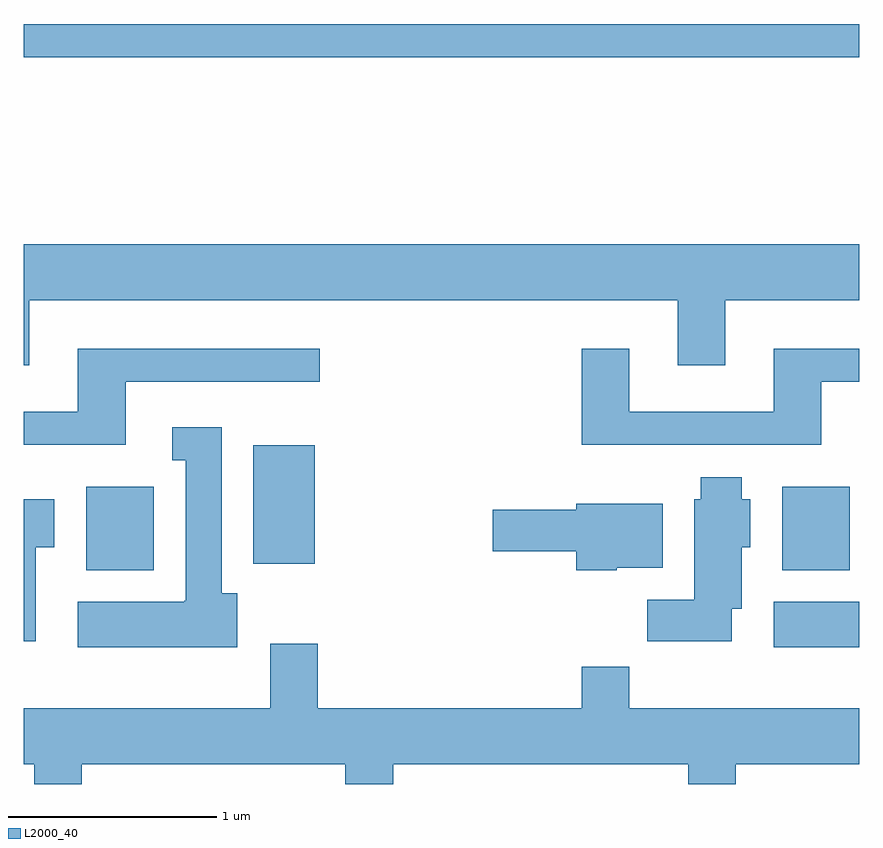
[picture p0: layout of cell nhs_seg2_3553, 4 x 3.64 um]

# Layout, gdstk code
import gdstk
lib = gdstk.Library(unit=1e-6, precision=1e-09)
def R(c, l, rs):  # rectangles x0, y0, x1, y1
    for r in rs: c.add(gdstk.rectangle(r[:2], r[2:], *l))
def P(c, l, *ps):  # polygons
    for p in ps: c.add(gdstk.Polygon(p, *l))
L2000_40 = (2000, 40)

nhs_seg2_3553 = lib.new_cell('nhs_seg2_3553')
R(nhs_seg2_3553, L2000_40, [(293.201,1024.456,293.611,1024.674), (289.911,1024.826,290.234,1025.224), (293.241,1024.826,293.564,1025.224), (290.711,1024.856,291.004,1025.424), (289.611,1027.281,293.611,1027.439)])
P(nhs_seg2_3553, L2000_40, [(289.639,1026.116),(292.741,1026.116),(292.741,1025.806),(292.969,1025.806),(292.969,1026.116),(293.611,1026.116),(293.611,1026.384),(289.611,1026.384),(289.611,1025.806),(289.639,1025.806)],
  [(290.099,1025.726),(291.028,1025.726),(291.028,1025.884),(289.871,1025.884),(289.871,1025.584),(289.611,1025.584),(289.611,1025.426),(290.099,1025.426)],
  [(293.429,1025.726),(293.611,1025.726),(293.611,1025.884),(293.201,1025.884),(293.201,1025.584),(292.509,1025.584),(292.509,1025.884),(292.281,1025.884),(292.281,1025.426),(293.429,1025.426)],
  [(290.634,1024.714),(290.559,1024.714),(290.559,1025.509),(290.323,1025.509),(290.323,1025.351),(290.386,1025.351),(290.386,1024.68),(290.38,1024.68),(290.38,1024.674),(289.871,1024.674),(289.871,1024.456),(290.634,1024.456)],
  [(292.999,1024.641),(293.049,1024.641),(293.049,1024.936),(293.089,1024.936),(293.089,1025.164),(293.049,1025.164),(293.049,1025.269),(292.851,1025.269),(292.851,1025.164),(292.821,1025.164),(292.821,1024.684),(292.596,1024.684),(292.596,1024.486),(292.999,1024.486)],
  [(289.669,1024.936),(289.759,1024.936),(289.759,1025.164),(289.611,1025.164),(289.611,1024.486),(289.669,1024.486)],
  [(292.45,1024.836),(292.669,1024.836),(292.669,1025.144),(292.256,1025.144),(292.256,1025.114),(291.856,1025.114),(291.856,1024.916),(292.256,1024.916),(292.256,1024.826),(292.45,1024.826)],
  [(289.889,1023.896),(291.151,1023.896),(291.151,1023.802),(291.379,1023.802),(291.379,1023.896),(292.791,1023.896),(292.791,1023.802),(293.019,1023.802),(293.019,1023.896),(293.611,1023.896),(293.611,1024.164),(292.509,1024.164),(292.509,1024.364),(292.281,1024.364),(292.281,1024.164),(291.019,1024.164),(291.019,1024.474),(290.791,1024.474),(290.791,1024.164),(289.611,1024.164),(289.611,1023.896),(289.661,1023.896),(289.661,1023.802),(289.889,1023.802)])

lib.write_gds('nhs_seg2_3553.gds')
